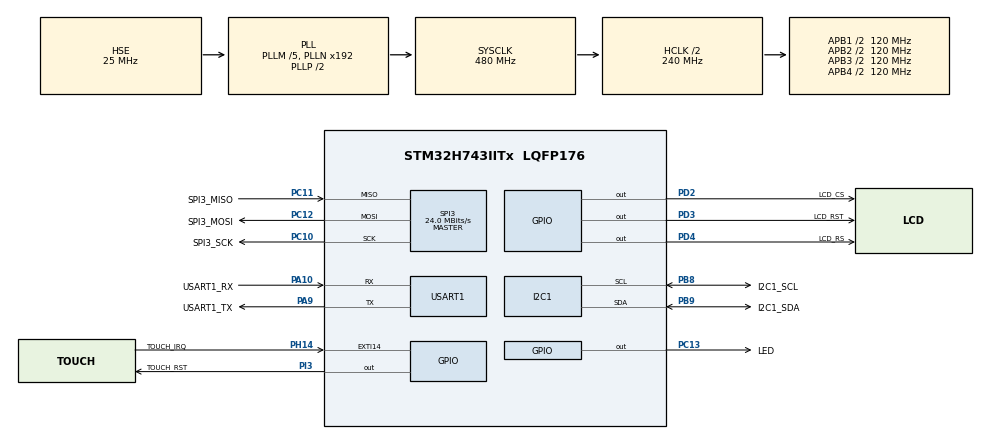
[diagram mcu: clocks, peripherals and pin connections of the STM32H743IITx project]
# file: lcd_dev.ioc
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CORTEX_M7.AccessPermission_S-Cortex_Memory_Protection_Unit_Region1_Settings_S=MPU_REGION_FULL_ACCESS
CORTEX_M7.AccessPermission_Spec=MPU_REGION_FULL_ACCESS
CORTEX_M7.BaseAddress_S-Cortex_Memory_Protection_Unit_Region1_Settings_S=0x30000000
CORTEX_M7.Enable_S-Cortex_Memory_Protection_Unit_Region1_Settings_S=MPU_REGION_ENABLE
CORTEX_M7.IsShareable_S-Cortex_Memory_Protection_Unit_Region1_Settings_S=MPU_ACCESS_SHAREABLE
CORTEX_M7.Size_S-Cortex_Memory_Protection_Unit_Region1_Settings_S=MPU_REGION_SIZE_256KB
CORTEX_M7.default_mode_Activation=1
Dma.I2C1_RX.4.Direction=DMA_PERIPH_TO_MEMORY
Dma.I2C1_RX.4.EventEnable=DISABLE
Dma.I2C1_RX.4.FIFOMode=DMA_FIFOMODE_DISABLE
Dma.I2C1_RX.4.Instance=DMA1_Stream4
Dma.I2C1_RX.4.MemDataAlignment=DMA_MDATAALIGN_BYTE
Dma.I2C1_RX.4.MemInc=DMA_MINC_ENABLE
Dma.I2C1_RX.4.Mode=DMA_NORMAL
Dma.I2C1_RX.4.PeriphDataAlignment=DMA_PDATAALIGN_BYTE
Dma.I2C1_RX.4.PeriphInc=DMA_PINC_DISABLE
Dma.I2C1_RX.4.Polarity=HAL_DMAMUX_REQ_GEN_RISING
Dma.I2C1_RX.4.Priority=DMA_PRIORITY_LOW
Dma.I2C1_RX.4.RequestNumber=1
Dma.I2C1_RX.4.SignalID=NONE
Dma.I2C1_RX.4.SyncEnable=DISABLE
Dma.I2C1_RX.4.SyncPolarity=HAL_DMAMUX_SYNC_NO_EVENT
Dma.I2C1_RX.4.SyncRequestNumber=1
Dma.I2C1_RX.4.SyncSignalID=NONE
Dma.I2C1_TX.5.Direction=DMA_MEMORY_TO_PERIPH
Dma.I2C1_TX.5.EventEnable=DISABLE
Dma.I2C1_TX.5.FIFOMode=DMA_FIFOMODE_DISABLE
Dma.I2C1_TX.5.Instance=DMA1_Stream5
Dma.I2C1_TX.5.MemDataAlignment=DMA_MDATAALIGN_BYTE
Dma.I2C1_TX.5.MemInc=DMA_MINC_ENABLE
Dma.I2C1_TX.5.Mode=DMA_NORMAL
Dma.I2C1_TX.5.PeriphDataAlignment=DMA_PDATAALIGN_BYTE
Dma.I2C1_TX.5.PeriphInc=DMA_PINC_DISABLE
Dma.I2C1_TX.5.Polarity=HAL_DMAMUX_REQ_GEN_RISING
Dma.I2C1_TX.5.Priority=DMA_PRIORITY_LOW
Dma.I2C1_TX.5.RequestNumber=1
Dma.I2C1_TX.5.SignalID=NONE
Dma.I2C1_TX.5.SyncEnable=DISABLE
Dma.I2C1_TX.5.SyncPolarity=HAL_DMAMUX_SYNC_NO_EVENT
Dma.I2C1_TX.5.SyncRequestNumber=1
Dma.I2C1_TX.5.SyncSignalID=NONE
Dma.Request0=SPI3_RX
Dma.Request1=SPI3_TX
Dma.Request2=USART1_RX
Dma.Request3=USART1_TX
Dma.Request4=I2C1_RX
Dma.Request5=I2C1_TX
Dma.SPI3_RX.0.Direction=DMA_PERIPH_TO_MEMORY
Dma.SPI3_RX.0.EventEnable=DISABLE
Dma.SPI3_RX.0.FIFOMode=DMA_FIFOMODE_DISABLE
Dma.SPI3_RX.0.Instance=DMA1_Stream0
Dma.SPI3_RX.0.MemDataAlignment=DMA_MDATAALIGN_BYTE
Dma.SPI3_RX.0.MemInc=DMA_MINC_ENABLE
Dma.SPI3_RX.0.Mode=DMA_NORMAL
Dma.SPI3_RX.0.PeriphDataAlignment=DMA_PDATAALIGN_BYTE
Dma.SPI3_RX.0.PeriphInc=DMA_PINC_DISABLE
Dma.SPI3_RX.0.Polarity=HAL_DMAMUX_REQ_GEN_RISING
Dma.SPI3_RX.0.Priority=DMA_PRIORITY_LOW
Dma.SPI3_RX.0.RequestNumber=1
Dma.SPI3_RX.0.SignalID=NONE
Dma.SPI3_RX.0.SyncEnable=DISABLE
Dma.SPI3_RX.0.SyncPolarity=HAL_DMAMUX_SYNC_NO_EVENT
Dma.SPI3_RX.0.SyncRequestNumber=1
Dma.SPI3_RX.0.SyncSignalID=NONE
Dma.SPI3_TX.1.Direction=DMA_MEMORY_TO_PERIPH
Dma.SPI3_TX.1.EventEnable=DISABLE
Dma.SPI3_TX.1.FIFOMode=DMA_FIFOMODE_DISABLE
Dma.SPI3_TX.1.Instance=DMA1_Stream1
Dma.SPI3_TX.1.MemDataAlignment=DMA_MDATAALIGN_BYTE
Dma.SPI3_TX.1.MemInc=DMA_MINC_ENABLE
Dma.SPI3_TX.1.Mode=DMA_NORMAL
Dma.SPI3_TX.1.PeriphDataAlignment=DMA_PDATAALIGN_BYTE
Dma.SPI3_TX.1.PeriphInc=DMA_PINC_DISABLE
Dma.SPI3_TX.1.Polarity=HAL_DMAMUX_REQ_GEN_RISING
Dma.SPI3_TX.1.Priority=DMA_PRIORITY_LOW
Dma.SPI3_TX.1.RequestNumber=1
Dma.SPI3_TX.1.SignalID=NONE
Dma.SPI3_TX.1.SyncEnable=DISABLE
Dma.SPI3_TX.1.SyncPolarity=HAL_DMAMUX_SYNC_NO_EVENT
Dma.SPI3_TX.1.SyncRequestNumber=1
Dma.SPI3_TX.1.SyncSignalID=NONE
Dma.USART1_RX.2.Direction=DMA_PERIPH_TO_MEMORY
Dma.USART1_RX.2.EventEnable=DISABLE
Dma.USART1_RX.2.FIFOMode=DMA_FIFOMODE_DISABLE
Dma.USART1_RX.2.Instance=DMA1_Stream2
Dma.USART1_RX.2.MemDataAlignment=DMA_MDATAALIGN_BYTE
Dma.USART1_RX.2.MemInc=DMA_MINC_ENABLE
Dma.USART1_RX.2.Mode=DMA_NORMAL
Dma.USART1_RX.2.PeriphDataAlignment=DMA_PDATAALIGN_BYTE
Dma.USART1_RX.2.PeriphInc=DMA_PINC_DISABLE
Dma.USART1_RX.2.Polarity=HAL_DMAMUX_REQ_GEN_RISING
Dma.USART1_RX.2.Priority=DMA_PRIORITY_LOW
Dma.USART1_RX.2.RequestNumber=1
Dma.USART1_RX.2.SignalID=NONE
Dma.USART1_RX.2.SyncEnable=DISABLE
Dma.USART1_RX.2.SyncPolarity=HAL_DMAMUX_SYNC_NO_EVENT
Dma.USART1_RX.2.SyncRequestNumber=1
Dma.USART1_RX.2.SyncSignalID=NONE
Dma.USART1_TX.3.Direction=DMA_MEMORY_TO_PERIPH
Dma.USART1_TX.3.EventEnable=DISABLE
Dma.USART1_TX.3.FIFOMode=DMA_FIFOMODE_DISABLE
Dma.USART1_TX.3.Instance=DMA1_Stream3
Dma.USART1_TX.3.MemDataAlignment=DMA_MDATAALIGN_BYTE
Dma.USART1_TX.3.MemInc=DMA_MINC_ENABLE
Dma.USART1_TX.3.Mode=DMA_NORMAL
Dma.USART1_TX.3.PeriphDataAlignment=DMA_PDATAALIGN_BYTE
Dma.USART1_TX.3.PeriphInc=DMA_PINC_DISABLE
Dma.USART1_TX.3.Polarity=HAL_DMAMUX_REQ_GEN_RISING
Dma.USART1_TX.3.Priority=DMA_PRIORITY_LOW
Dma.USART1_TX.3.RequestNumber=1
Dma.USART1_TX.3.SignalID=NONE
Dma.USART1_TX.3.SyncEnable=DISABLE
Dma.USART1_TX.3.SyncPolarity=HAL_DMAMUX_SYNC_NO_EVENT
Dma.USART1_TX.3.SyncRequestNumber=1
Dma.USART1_TX.3.SyncSignalID=NONE
I2C1.Timing=0x0040486C
Mcu.Family=STM32H7
Mcu.Name=STM32H743IITx
Mcu.Package=LQFP176
NVIC.DMA1_Stream0_IRQn=true\:0\:0\:false\:false\:true\:false\:true\:true
NVIC.DMA1_Stream1_IRQn=true\:0\:0\:false\:false\:true\:false\:true\:true
NVIC.DMA1_Stream2_IRQn=true\:0\:0\:false\:false\:true\:false\:true\:true
NVIC.DMA1_Stream3_IRQn=true\:0\:0\:false\:false\:true\:false\:true\:true
NVIC.DMA1_Stream4_IRQn=true\:0\:0\:false\:false\:true\:false\:true\:true
NVIC.DMA1_Stream5_IRQn=true\:0\:0\:false\:false\:true\:false\:true\:true
NVIC.EXTI15_10_IRQn=true\:0\:0\:false\:false\:true\:true\:true\:true
NVIC.I2C1_ER_IRQn=true\:0\:0\:false\:false\:true\:true\:true\:true
NVIC.I2C1_EV_IRQn=true\:0\:0\:false\:false\:true\:true\:true\:true
NVIC.PriorityGroup=NVIC_PRIORITYGROUP_4
NVIC.SPI3_IRQn=true\:0\:0\:false\:false\:true\:false\:true\:true
NVIC.USART1_IRQn=true\:0\:0\:false\:false\:true\:true\:true\:true
PA10.GPIO_Label=USART1_RX
PA10.GPIO_PuPd=GPIO_PULLUP
PA10.GPIO_Speed=GPIO_SPEED_FREQ_VERY_HIGH
PA10.Mode=Asynchronous
PA10.Signal=USART1_RX
PA13\ (JTMS/SWDIO).Mode=Serial_Wire
PA13\ (JTMS/SWDIO).Signal=DEBUG_JTMS-SWDIO
PA14\ (JTCK/SWCLK).Mode=Serial_Wire
PA14\ (JTCK/SWCLK).Signal=DEBUG_JTCK-SWCLK
PA9.GPIO_Label=USART1_TX
PA9.GPIO_PuPd=GPIO_PULLUP
PA9.GPIO_Speed=GPIO_SPEED_FREQ_VERY_HIGH
PA9.Mode=Asynchronous
PA9.Signal=USART1_TX
PB8.GPIO_Label=I2C1_SCL
PB8.GPIO_Pu=GPIO_PULLUP
PB8.GPIO_Speed=GPIO_SPEED_FREQ_VERY_HIGH
PB8.Mode=I2C
PB8.Signal=I2C1_SCL
PB9.GPIO_Label=I2C1_SDA
PB9.GPIO_Pu=GPIO_PULLUP
PB9.GPIO_Speed=GPIO_SPEED_FREQ_VERY_HIGH
PB9.Mode=I2C
PB9.Signal=I2C1_SDA
PC10.GPIO_Label=SPI3_SCK
PC10.GPIO_PuPd=GPIO_PULLDOWN
PC10.GPIO_Speed=GPIO_SPEED_FREQ_VERY_HIGH
PC10.Mode=Full_Duplex_Master
PC10.Signal=SPI3_SCK
PC11.GPIO_Label=SPI3_MISO
PC11.GPIO_PuPd=GPIO_PULLDOWN
PC11.GPIO_Speed=GPIO_SPEED_FREQ_VERY_HIGH
PC11.Mode=Full_Duplex_Master
PC11.Signal=SPI3_MISO
PC12.GPIO_Label=SPI3_MOSI
PC12.GPIO_PuPd=GPIO_PULLDOWN
PC12.GPIO_Speed=GPIO_SPEED_FREQ_VERY_HIGH
PC12.Mode=Full_Duplex_Master
PC12.Signal=SPI3_MOSI
PC13.GPIO_Label=LED
PC13.GPIO_PuPd=GPIO_PULLUP
PC13.GPIO_Speed=GPIO_SPEED_FREQ_LOW
PC13.PinState=GPIO_PIN_SET
PC13.Signal=GPIO_Output
PC14-OSC32_IN\ (OSC32_IN).Mode=LSE-External-Oscillator
PC14-OSC32_IN\ (OSC32_IN).Signal=RCC_OSC32_IN
PC15-OSC32_OUT\ (OSC32_OUT).Mode=LSE-External-Oscillator
PC15-OSC32_OUT\ (OSC32_OUT).Signal=RCC_OSC32_OUT
PD2.GPIO_Label=LCD_CS
PD2.GPIO_PuPd=GPIO_PULLDOWN
PD2.GPIO_Speed=GPIO_SPEED_FREQ_VERY_HIGH
PD2.PinState=GPIO_PIN_SET
PD2.Signal=GPIO_Output
PD3.GPIO_Label=LCD_RST
PD3.GPIO_PuPd=GPIO_PULLUP
PD3.GPIO_Speed=GPIO_SPEED_FREQ_VERY_HIGH
PD3.PinState=GPIO_PIN_SET
PD3.Signal=GPIO_Output
PD4.GPIO_Label=LCD_RS
PD4.GPIO_PuPd=GPIO_NOPULL
PD4.GPIO_Speed=GPIO_SPEED_FREQ_VERY_HIGH
PD4.PinState=GPIO_PIN_SET
PD4.Signal=GPIO_Output
PH0-OSC_IN\ (PH0).Mode=HSE-External-Oscillator
PH0-OSC_IN\ (PH0).Signal=RCC_OSC_IN
PH1-OSC_OUT\ (PH1).Mode=HSE-External-Oscillator
PH1-OSC_OUT\ (PH1).Signal=RCC_OSC_OUT
PH14.GPIO_Label=TOUCH_IRQ
PH14.GPIO_ModeDefaultEXTI=GPIO_MODE_IT_RISING
PH14.GPIO_PuPd=GPIO_PULLUP
PH14.Signal=GPXTI14
PI3.GPIO_Label=TOUCH_RST
PI3.GPIO_PuPd=GPIO_PULLUP
PI3.GPIO_Speed=GPIO_SPEED_FREQ_VERY_HIGH
PI3.PinState=GPIO_PIN_SET
PI3.Signal=GPIO_Output
ProjectManager.HeapSize=0x200
ProjectManager.StackSize=0x400
ProjectManager.TargetToolchain=CMake
RCC.ADCFreq_Value=96000000
RCC.APB1Freq_Value=120000000
RCC.APB2Freq_Value=120000000
RCC.APB3Freq_Value=120000000
RCC.APB4Freq_Value=120000000
RCC.CortexFreq_Value=480000000
RCC.D1PPRE=RCC_APB3_DIV2
RCC.D2PPRE1=RCC_APB1_DIV2
RCC.D2PPRE2=RCC_APB2_DIV2
RCC.D3PPRE=RCC_APB4_DIV2
RCC.DIVM1=5
RCC.DIVM2=5
RCC.DIVM3=2
RCC.DIVN1=192
RCC.DIVN2=96
RCC.DIVN3=20
RCC.DIVP2=5
RCC.DIVP3=1
RCC.DIVQ2=1
RCC.DIVQ3=4
RCC.HCLKFreq_Value=240000000
RCC.HPRE=RCC_HCLK_DIV2
RCC.PLL2FRACN=0
RCC.PLL3FRACN=0
RCC.PLLFRACN=0
RCC.PLLSourceVirtual=RCC_PLLSOURCE_HSE
RCC.SPI123CLockSelection=RCC_SPI123CLKSOURCE_PLL2
RCC.SPI6CLockSelection=RCC_SPI6CLKSOURCE_PLL3
RCC.SYSCLKFreq_VALUE=480000000
RCC.SYSCLKSource=RCC_SYSCLKSOURCE_PLLCLK
RCC.USBFreq_Value=480000000
SPI3.BaudRatePrescaler=SPI_BAUDRATEPRESCALER_4
SPI3.CLKPolarity=SPI_POLARITY_LOW
SPI3.CalculateBaudRate=24.0 MBits/s
SPI3.DataSize=SPI_DATASIZE_8BIT
SPI3.Direction=SPI_DIRECTION_2LINES
SPI3.FirstBit=SPI_FIRSTBIT_MSB
SPI3.Mode=SPI_MODE_MASTER
SPI3.NSSPMode=SPI_NSS_PULSE_DISABLE
SPI3.VirtualType=VM_MASTER
USART1.VirtualMode-Asynchronous=VM_ASYNC
VP_MEMORYMAP_VS_MEMORYMAP.Mode=CurAppReg
board=custom

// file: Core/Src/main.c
/* USER CODE BEGIN Header */
/**
  ******************************************************************************
  * @file           : main.c
  * @brief          : Main program body
  ******************************************************************************
  * @attention
  *
  * Copyright (c) 2026 STMicroelectronics.
  * All rights reserved.
  *
  * This software is licensed under terms that can be found in the LICENSE file
  * in the root directory of this software component.
  * If no LICENSE file comes with this software, it is provided AS-IS.
  *
  ******************************************************************************
  */
/* USER CODE END Header */
#include "main.h"

/* USER CODE BEGIN Includes */
#include "global.h"

#include "lvgl.h"

#include "drv_lcd.h"
#include "drv_lcd_touch.h"
#include "drv_lvgl_port.h"

#include "drv_sys_tick.h"
#include "drv_uart.h"
#include "drv_spi.h"
#include "drv_i2c.h"
#include <stdint.h>
/* USER CODE END Includes */

I2C_HandleTypeDef hi2c1;
DMA_HandleTypeDef hdma_i2c1_rx;
DMA_HandleTypeDef hdma_i2c1_tx;

SPI_HandleTypeDef hspi3;
DMA_HandleTypeDef hdma_spi3_rx;
DMA_HandleTypeDef hdma_spi3_tx;

UART_HandleTypeDef huart1;
DMA_HandleTypeDef hdma_usart1_rx;
DMA_HandleTypeDef hdma_usart1_tx;

void SystemClock_Config(void);
static void MPU_Config(void);
static void MX_GPIO_Init(void);
static void MX_DMA_Init(void);
static void MX_SPI3_Init(void);
static void MX_USART1_UART_Init(void);
static void MX_I2C1_Init(void);

int main(void)
{

  /* MPU Configuration--------------------------------------------------------*/
  MPU_Config();

  /* MCU Configuration--------------------------------------------------------*/

  /* Reset of all peripherals, Initializes the Flash interface and the Systick. */
  HAL_Init();

  /* Configure the system clock */
  SystemClock_Config();

  /* Initialize all configured peripherals */
  MX_GPIO_Init();
  MX_DMA_Init();
  MX_SPI3_Init();
  MX_USART1_UART_Init();
  MX_I2C1_Init();
  /* USER CODE BEGIN 2 */
	comm_port_uart1.init_func(&comm_port_uart1);
	comm_port_spi3.init_func(&comm_port_spi3);
	comm_port_i2c1.init_func(&comm_port_i2c1);
	// while (drv_lcd_init() != 0);
	// while (drv_lcd_touch_init() != 0);
	lvgl_init();
  /* USER CODE END 2 */

  /* Infinite loop */
  while (1)
  {

    /* USER CODE BEGIN 3 */
    extern lv_obj_t * screen_1;

    static uint8_t i = 0;

    if (i == 0) {
      lv_obj_set_style_bg_color(screen_1, lv_color_hex(0xff0000), LV_PART_MAIN | LV_STATE_DEFAULT);
    }
    else if (i == 1) {
      lv_obj_set_style_bg_color(screen_1, lv_color_hex(0x00ff00), LV_PART_MAIN | LV_STATE_DEFAULT);
    }
    else if (i == 2) {
      lv_obj_set_style_bg_color(screen_1, lv_color_hex(0x0000ff), LV_PART_MAIN | LV_STATE_DEFAULT);
    }

    i++;
    if (i > 2) {
      i = 0;
    }

    lv_timer_handler();
    // HAL_Delay(5);
  }
  /* USER CODE END 3 */
}

void SystemClock_Config(void)
{
  RCC_OscInitTypeDef RCC_OscInitStruct = {0};
  RCC_ClkInitTypeDef RCC_ClkInitStruct = {0};

  /** Supply configuration update enable
  */
  HAL_PWREx_ConfigSupply(PWR_LDO_SUPPLY);

  /** Configure the main internal regulator output voltage
  */
  __HAL_PWR_VOLTAGESCALING_CONFIG(PWR_REGULATOR_VOLTAGE_SCALE0);

  while(!__HAL_PWR_GET_FLAG(PWR_FLAG_VOSRDY)) {}

  /** Initializes the RCC Oscillators according to the specified parameters
  * in the RCC_OscInitTypeDef structure.
  */
  RCC_OscInitStruct.OscillatorType = RCC_OSCILLATORTYPE_HSE;
  RCC_OscInitStruct.HSEState = RCC_HSE_ON;
  RCC_OscInitStruct.PLL.PLLState = RCC_PLL_ON;
  RCC_OscInitStruct.PLL.PLLSource = RCC_PLLSOURCE_HSE;
  RCC_OscInitStruct.PLL.PLLM = 5;
  RCC_OscInitStruct.PLL.PLLN = 192;
  RCC_OscInitStruct.PLL.PLLP = 2;
  RCC_OscInitStruct.PLL.PLLQ = 2;
  RCC_OscInitStruct.PLL.PLLR = 2;
  RCC_OscInitStruct.PLL.PLLRGE = RCC_PLL1VCIRANGE_2;
  RCC_OscInitStruct.PLL.PLLVCOSEL = RCC_PLL1VCOWIDE;
  RCC_OscInitStruct.PLL.PLLFRACN = 0;
  if (HAL_RCC_OscConfig(&RCC_OscInitStruct) != HAL_OK)
  {
    Error_Handler();
  }

  /** Initializes the CPU, AHB and APB buses clocks
  */
  RCC_ClkInitStruct.ClockType = RCC_CLOCKTYPE_HCLK|RCC_CLOCKTYPE_SYSCLK
                              |RCC_CLOCKTYPE_PCLK1|RCC_CLOCKTYPE_PCLK2
                              |RCC_CLOCKTYPE_D3PCLK1|RCC_CLOCKTYPE_D1PCLK1;
  RCC_ClkInitStruct.SYSCLKSource = RCC_SYSCLKSOURCE_PLLCLK;
  RCC_ClkInitStruct.SYSCLKDivider = RCC_SYSCLK_DIV1;
  RCC_ClkInitStruct.AHBCLKDivider = RCC_HCLK_DIV2;
  RCC_ClkInitStruct.APB3CLKDivider = RCC_APB3_DIV2;
  RCC_ClkInitStruct.APB1CLKDivider = RCC_APB1_DIV2;
  RCC_ClkInitStruct.APB2CLKDivider = RCC_APB2_DIV2;
  RCC_ClkInitStruct.APB4CLKDivider = RCC_APB4_DIV2;

  if (HAL_RCC_ClockConfig(&RCC_ClkInitStruct, FLASH_LATENCY_4) != HAL_OK)
  {
    Error_Handler();
  }
}

static void MX_I2C1_Init(void)
{

  hi2c1.Instance = I2C1;
  hi2c1.Init.Timing = 0x0040486C;
  hi2c1.Init.OwnAddress1 = 0;
  hi2c1.Init.AddressingMode = I2C_ADDRESSINGMODE_7BIT;
  hi2c1.Init.DualAddressMode = I2C_DUALADDRESS_DISABLE;
  hi2c1.Init.OwnAddress2 = 0;
  hi2c1.Init.OwnAddress2Masks = I2C_OA2_NOMASK;
  hi2c1.Init.GeneralCallMode = I2C_GENERALCALL_DISABLE;
  hi2c1.Init.NoStretchMode = I2C_NOSTRETCH_DISABLE;
  if (HAL_I2C_Init(&hi2c1) != HAL_OK)
  {
    Error_Handler();
  }

  /** Configure Analogue filter
  */
  if (HAL_I2CEx_ConfigAnalogFilter(&hi2c1, I2C_ANALOGFILTER_ENABLE) != HAL_OK)
  {
    Error_Handler();
  }

  /** Configure Digital filter
  */
  if (HAL_I2CEx_ConfigDigitalFilter(&hi2c1, 0) != HAL_OK)
  {
    Error_Handler();
  }

}

static void MX_SPI3_Init(void)
{

  /* SPI3 parameter configuration*/
  hspi3.Instance = SPI3;
  hspi3.Init.Mode = SPI_MODE_MASTER;
  hspi3.Init.Direction = SPI_DIRECTION_2LINES;
  hspi3.Init.DataSize = SPI_DATASIZE_8BIT;
  hspi3.Init.CLKPolarity = SPI_POLARITY_LOW;
  hspi3.Init.CLKPhase = SPI_PHASE_1EDGE;
  hspi3.Init.NSS = SPI_NSS_SOFT;
  hspi3.Init.BaudRatePrescaler = SPI_BAUDRATEPRESCALER_4;
  hspi3.Init.FirstBit = SPI_FIRSTBIT_MSB;
  hspi3.Init.TIMode = SPI_TIMODE_DISABLE;
  hspi3.Init.CRCCalculation = SPI_CRCCALCULATION_DISABLE;
  hspi3.Init.CRCPolynomial = 0x0;
  hspi3.Init.NSSPMode = SPI_NSS_PULSE_DISABLE;
  hspi3.Init.NSSPolarity = SPI_NSS_POLARITY_LOW;
  hspi3.Init.FifoThreshold = SPI_FIFO_THRESHOLD_01DATA;
  hspi3.Init.TxCRCInitializationPattern = SPI_CRC_INITIALIZATION_ALL_ZERO_PATTERN;
  hspi3.Init.RxCRCInitializationPattern = SPI_CRC_INITIALIZATION_ALL_ZERO_PATTERN;
  hspi3.Init.MasterSSIdleness = SPI_MASTER_SS_IDLENESS_00CYCLE;
  hspi3.Init.MasterInterDataIdleness = SPI_MASTER_INTERDATA_IDLENESS_00CYCLE;
  hspi3.Init.MasterReceiverAutoSusp = SPI_MASTER_RX_AUTOSUSP_DISABLE;
  hspi3.Init.MasterKeepIOState = SPI_MASTER_KEEP_IO_STATE_DISABLE;
  hspi3.Init.IOSwap = SPI_IO_SWAP_DISABLE;
  if (HAL_SPI_Init(&hspi3) != HAL_OK)
  {
    Error_Handler();
  }

}

static void MX_USART1_UART_Init(void)
{

  huart1.Instance = USART1;
  huart1.Init.BaudRate = 115200;
  huart1.Init.WordLength = UART_WORDLENGTH_8B;
  huart1.Init.StopBits = UART_STOPBITS_1;
  huart1.Init.Parity = UART_PARITY_NONE;
  huart1.Init.Mode = UART_MODE_TX_RX;
  huart1.Init.HwFlowCtl = UART_HWCONTROL_NONE;
  huart1.Init.OverSampling = UART_OVERSAMPLING_16;
  huart1.Init.OneBitSampling = UART_ONE_BIT_SAMPLE_DISABLE;
  huart1.Init.ClockPrescaler = UART_PRESCALER_DIV1;
  huart1.AdvancedInit.AdvFeatureInit = UART_ADVFEATURE_NO_INIT;
  if (HAL_UART_Init(&huart1) != HAL_OK)
  {
    Error_Handler();
  }
  if (HAL_UARTEx_SetTxFifoThreshold(&huart1, UART_TXFIFO_THRESHOLD_1_8) != HAL_OK)
  {
    Error_Handler();
  }
  if (HAL_UARTEx_SetRxFifoThreshold(&huart1, UART_RXFIFO_THRESHOLD_1_8) != HAL_OK)
  {
    Error_Handler();
  }
  if (HAL_UARTEx_DisableFifoMode(&huart1) != HAL_OK)
  {
    Error_Handler();
  }

}

static void MX_DMA_Init(void)
{

  /* DMA controller clock enable */
  __HAL_RCC_DMA1_CLK_ENABLE();

  /* DMA interrupt init */
  /* DMA1_Stream0_IRQn interrupt configuration */
  HAL_NVIC_SetPriority(DMA1_Stream0_IRQn, 0, 0);
  HAL_NVIC_EnableIRQ(DMA1_Stream0_IRQn);
  /* DMA1_Stream1_IRQn interrupt configuration */
  HAL_NVIC_SetPriority(DMA1_Stream1_IRQn, 0, 0);
  HAL_NVIC_EnableIRQ(DMA1_Stream1_IRQn);
  /* DMA1_Stream2_IRQn interrupt configuration */
  HAL_NVIC_SetPriority(DMA1_Stream2_IRQn, 0, 0);
  HAL_NVIC_EnableIRQ(DMA1_Stream2_IRQn);
  /* DMA1_Stream3_IRQn interrupt configuration */
  HAL_NVIC_SetPriority(DMA1_Stream3_IRQn, 0, 0);
  HAL_NVIC_EnableIRQ(DMA1_Stream3_IRQn);
  /* DMA1_Stream4_IRQn interrupt configuration */
  HAL_NVIC_SetPriority(DMA1_Stream4_IRQn, 0, 0);
  HAL_NVIC_EnableIRQ(DMA1_Stream4_IRQn);
  /* DMA1_Stream5_IRQn interrupt configuration */
  HAL_NVIC_SetPriority(DMA1_Stream5_IRQn, 0, 0);
  HAL_NVIC_EnableIRQ(DMA1_Stream5_IRQn);

}

static void MX_GPIO_Init(void)
{
  GPIO_InitTypeDef GPIO_InitStruct = {0};

  /* GPIO Ports Clock Enable */
  __HAL_RCC_GPIOC_CLK_ENABLE();
  __HAL_RCC_GPIOH_CLK_ENABLE();
  __HAL_RCC_GPIOA_CLK_ENABLE();
  __HAL_RCC_GPIOI_CLK_ENABLE();
  __HAL_RCC_GPIOD_CLK_ENABLE();
  __HAL_RCC_GPIOB_CLK_ENABLE();

  /*Configure GPIO pin Output Level */
  HAL_GPIO_WritePin(LED_GPIO_Port, LED_Pin, GPIO_PIN_SET);

  /*Configure GPIO pin Output Level */
  HAL_GPIO_WritePin(TOUCH_RST_GPIO_Port, TOUCH_RST_Pin, GPIO_PIN_SET);

  /*Configure GPIO pin Output Level */
  HAL_GPIO_WritePin(GPIOD, LCD_CS_Pin|LCD_RST_Pin|LCD_RS_Pin, GPIO_PIN_SET);

  /*Configure GPIO pin : LED_Pin */
  GPIO_InitStruct.Pin = LED_Pin;
  GPIO_InitStruct.Mode = GPIO_MODE_OUTPUT_PP;
  GPIO_InitStruct.Pull = GPIO_PULLUP;
  GPIO_InitStruct.Speed = GPIO_SPEED_FREQ_LOW;
  HAL_GPIO_Init(LED_GPIO_Port, &GPIO_InitStruct);

  /*Configure GPIO pin : TOUCH_IRQ_Pin */
  GPIO_InitStruct.Pin = TOUCH_IRQ_Pin;
  GPIO_InitStruct.Mode = GPIO_MODE_IT_RISING;
  GPIO_InitStruct.Pull = GPIO_PULLUP;
  HAL_GPIO_Init(TOUCH_IRQ_GPIO_Port, &GPIO_InitStruct);

  /*Configure GPIO pin : TOUCH_RST_Pin */
  GPIO_InitStruct.Pin = TOUCH_RST_Pin;
  GPIO_InitStruct.Mode = GPIO_MODE_OUTPUT_PP;
  GPIO_InitStruct.Pull = GPIO_PULLUP;
  GPIO_InitStruct.Speed = GPIO_SPEED_FREQ_VERY_HIGH;
  HAL_GPIO_Init(TOUCH_RST_GPIO_Port, &GPIO_InitStruct);

  /*Configure GPIO pin : LCD_CS_Pin */
  GPIO_InitStruct.Pin = LCD_CS_Pin;
  GPIO_InitStruct.Mode = GPIO_MODE_OUTPUT_PP;
  GPIO_InitStruct.Pull = GPIO_PULLDOWN;
  GPIO_InitStruct.Speed = GPIO_SPEED_FREQ_VERY_HIGH;
  HAL_GPIO_Init(LCD_CS_GPIO_Port, &GPIO_InitStruct);

  /*Configure GPIO pin : LCD_RST_Pin */
  GPIO_InitStruct.Pin = LCD_RST_Pin;
  GPIO_InitStruct.Mode = GPIO_MODE_OUTPUT_PP;
  GPIO_InitStruct.Pull = GPIO_PULLUP;
  GPIO_InitStruct.Speed = GPIO_SPEED_FREQ_VERY_HIGH;
  HAL_GPIO_Init(LCD_RST_GPIO_Port, &GPIO_InitStruct);

  /*Configure GPIO pin : LCD_RS_Pin */
  GPIO_InitStruct.Pin = LCD_RS_Pin;
  GPIO_InitStruct.Mode = GPIO_MODE_OUTPUT_PP;
  GPIO_InitStruct.Pull = GPIO_NOPULL;
  GPIO_InitStruct.Speed = GPIO_SPEED_FREQ_VERY_HIGH;
  HAL_GPIO_Init(LCD_RS_GPIO_Port, &GPIO_InitStruct);

  /* EXTI interrupt init*/
  HAL_NVIC_SetPriority(TOUCH_IRQ_EXTI_IRQn, 0, 0);
  HAL_NVIC_EnableIRQ(TOUCH_IRQ_EXTI_IRQn);

}

 /* MPU Configuration */

void MPU_Config(void)
{
  MPU_Region_InitTypeDef MPU_InitStruct = {0};

  /* Disables the MPU */
  HAL_MPU_Disable();

  /** Initializes and configures the Region and the memory to be protected
  */
  MPU_InitStruct.Enable = MPU_REGION_ENABLE;
  MPU_InitStruct.Number = MPU_REGION_NUMBER0;
  MPU_InitStruct.BaseAddress = 0x0;
  MPU_InitStruct.Size = MPU_REGION_SIZE_4GB;
  MPU_InitStruct.SubRegionDisable = 0x87;
  MPU_InitStruct.TypeExtField = MPU_TEX_LEVEL0;
  MPU_InitStruct.AccessPermission = MPU_REGION_FULL_ACCESS;
  MPU_InitStruct.DisableExec = MPU_INSTRUCTION_ACCESS_DISABLE;
  MPU_InitStruct.IsShareable = MPU_ACCESS_SHAREABLE;
  MPU_InitStruct.IsCacheable = MPU_ACCESS_NOT_CACHEABLE;
  MPU_InitStruct.IsBufferable = MPU_ACCESS_NOT_BUFFERABLE;

  HAL_MPU_ConfigRegion(&MPU_InitStruct);

  /** Initializes and configures the Region and the memory to be protected
  */
  MPU_InitStruct.Number = MPU_REGION_NUMBER1;
  MPU_InitStruct.BaseAddress = 0x30000000;
  MPU_InitStruct.Size = MPU_REGION_SIZE_256KB;
  MPU_InitStruct.SubRegionDisable = 0x0;
  MPU_InitStruct.DisableExec = MPU_INSTRUCTION_ACCESS_ENABLE;

  HAL_MPU_ConfigRegion(&MPU_InitStruct);
  /* Enables the MPU */
  HAL_MPU_Enable(MPU_PRIVILEGED_DEFAULT);

}

void Error_Handler(void)
{
  __disable_irq();
  while (1)
  {
  }
}
